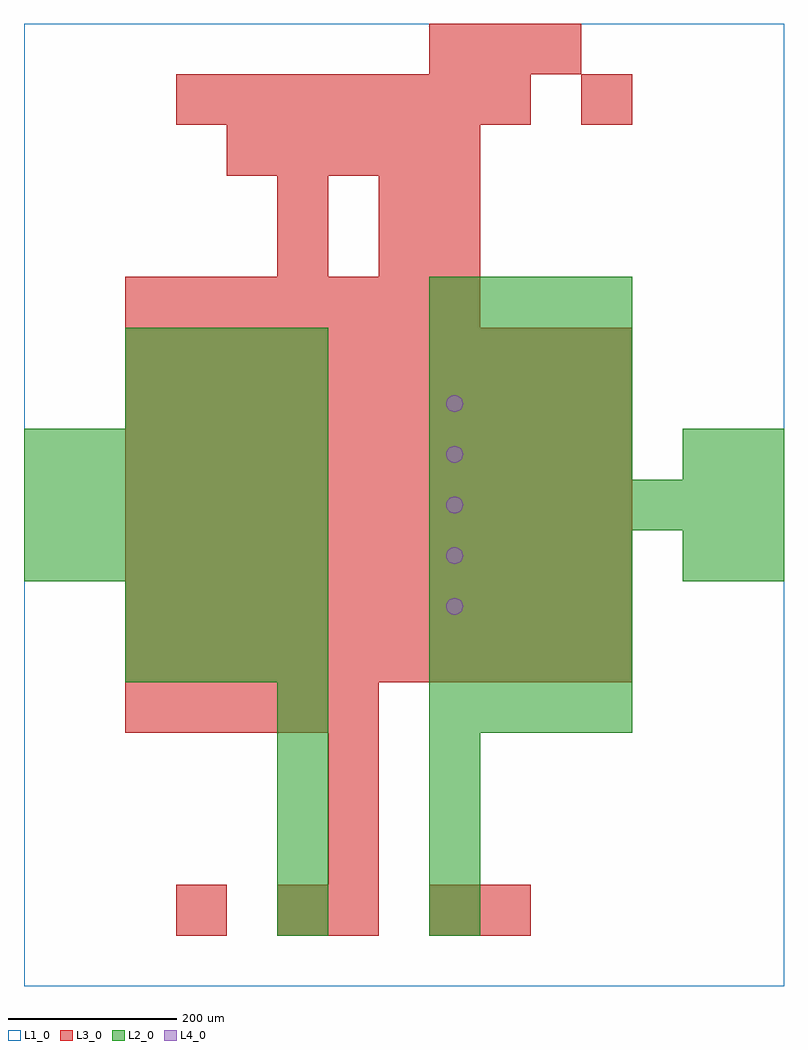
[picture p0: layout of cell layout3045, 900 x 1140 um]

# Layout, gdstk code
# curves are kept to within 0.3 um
import gdstk
lib = gdstk.Library(unit=1e-6, precision=1e-09)
def R(c, l, rs):  # rectangles x0, y0, x1, y1
    for r in rs: c.add(gdstk.rectangle(r[:2], r[2:], *l))
def A(c, l, x, y, w, h, nx, ny, dx, dy):  # array of equal rectangles
    R(c, l, [(x+i*dx, y+j*dy, x+i*dx+w, y+j*dy+h) for i in range(nx) for j in range(ny)])
def P(c, l, *ps):  # polygons
    for p in ps: c.add(gdstk.Polygon(p, *l))
L1_0 = (1, 0)
L2_0 = (2, 0)
L3_0 = (3, 0)
L4_0 = (4, 0)

layout3045 = lib.new_cell('layout3045')
R(layout3045, L1_0, [(0,0,900,1140)])
A(layout3045, L2_0, 300, 60, 60, 60, 1, 5, 0, 60)
A(layout3045, L2_0, 480, 60, 60, 60, 1, 4, 0, 60)
A(layout3045, L2_0, 480, 300, 60, 60, 4, 4, 60, 60)
A(layout3045, L2_0, 120, 360, 60, 60, 4, 2, 60, 60)
A(layout3045, L2_0, 0, 480, 60, 60, 6, 3, 60, 60)
A(layout3045, L2_0, 480, 540, 60, 60, 7, 1, 60, 0)
A(layout3045, L2_0, 480, 600, 60, 60, 4, 4, 60, 60)
A(layout3045, L2_0, 120, 660, 60, 60, 4, 2, 60, 60)
R(layout3045, L2_0, [(780,480,840,540), (840,480,900,540), (780,600,840,660), (840,600,900,660)])
A(layout3045, L3_0, 360, 60, 60, 60, 1, 4, 0, 60)
A(layout3045, L3_0, 120, 300, 60, 60, 5, 1, 60, 0)
A(layout3045, L3_0, 120, 360, 60, 60, 10, 7, 60, 60)
A(layout3045, L3_0, 120, 780, 60, 60, 7, 1, 60, 0)
A(layout3045, L3_0, 240, 960, 60, 60, 5, 1, 60, 0)
A(layout3045, L3_0, 180, 1020, 60, 60, 7, 1, 60, 0)
A(layout3045, L3_0, 480, 1080, 60, 60, 3, 1, 60, 0)
R(layout3045, L3_0, [(180,60,240,120), (300,60,360,120), (480,60,540,120), (540,60,600,120), (300,840,360,900), (420,840,480,900), (480,840,540,900), (300,900,360,960), (420,900,480,960), (480,900,540,960), (660,1020,720,1080)])
P(layout3045, L4_0, [(520,450),(519.239,453.827),(517.071,457.071),(513.827,459.239),(510,460),(506.173,459.239),(502.929,457.071),(500.761,453.827),(500,450),(500.761,446.173),(502.929,442.929),(506.173,440.761),(510,440),(513.827,440.761),(517.071,442.929),(519.239,446.173)],
  [(520,510),(519.239,513.827),(517.071,517.071),(513.827,519.239),(510,520),(506.173,519.239),(502.929,517.071),(500.761,513.827),(500,510),(500.761,506.173),(502.929,502.929),(506.173,500.761),(510,500),(513.827,500.761),(517.071,502.929),(519.239,506.173)],
  [(520,570),(519.239,573.827),(517.071,577.071),(513.827,579.239),(510,580),(506.173,579.239),(502.929,577.071),(500.761,573.827),(500,570),(500.761,566.173),(502.929,562.929),(506.173,560.761),(510,560),(513.827,560.761),(517.071,562.929),(519.239,566.173)],
  [(520,630),(519.239,633.827),(517.071,637.071),(513.827,639.239),(510,640),(506.173,639.239),(502.929,637.071),(500.761,633.827),(500,630),(500.761,626.173),(502.929,622.929),(506.173,620.761),(510,620),(513.827,620.761),(517.071,622.929),(519.239,626.173)],
  [(520,690),(519.239,693.827),(517.071,697.071),(513.827,699.239),(510,700),(506.173,699.239),(502.929,697.071),(500.761,693.827),(500,690),(500.761,686.173),(502.929,682.929),(506.173,680.761),(510,680),(513.827,680.761),(517.071,682.929),(519.239,686.173)])

lib.write_gds('layout3045.gds')
